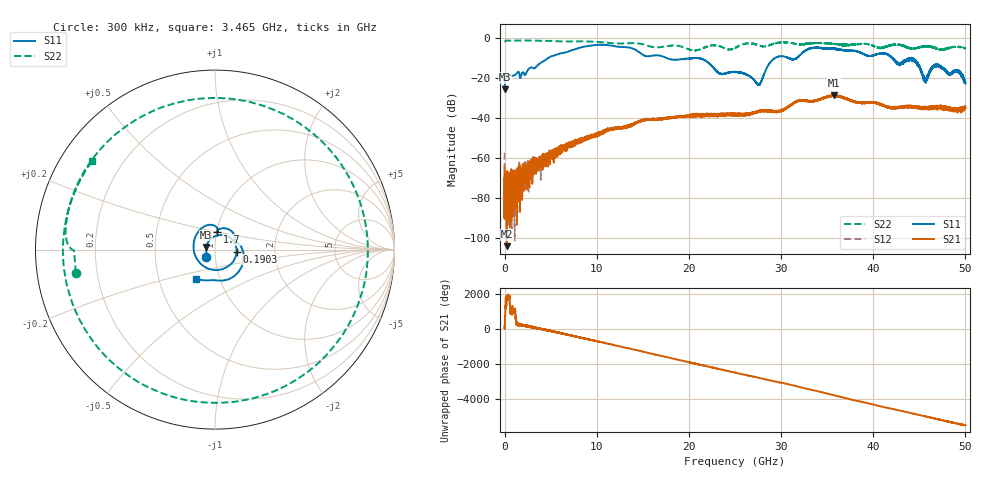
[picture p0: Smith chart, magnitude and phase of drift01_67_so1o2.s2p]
!Created with skrf (http://scikit-rf.org).
# Hz S RI R 50.0
!freq ReS11 ImS11 ReS21 ImS21 ReS12 ImS12 ReS22 ImS22
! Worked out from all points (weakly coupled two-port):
!   10001 points, 300 kHz to 50 GHz, reference 50 ohm
!   highest |S21| = -28.74 dB at 35.71 GHz (marker M1); lowest = -104.0 dB at 235.3 MHz (marker M2)
!   lowest |S11| = -25.8 dB at 5.3 MHz (marker M3), VSWR 1.11, Z = 45.3 + j1.4 ohm
!   |S11| at or under -10 dB: start of sweep to 4.767 GHz; 17.51 GHz to 29.38 GHz (11.87 GHz wide, 50.6 % of centre); 42.05 GHz to end of sweep (the widest 3 of 7)
!   |S22| runs from -6.4 to -1.4 dB; largest |S21 - S12| = 0.0036
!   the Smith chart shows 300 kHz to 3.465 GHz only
!   S11 on the Smith chart (normalised r, x): 300 kHz: 0.91, -0.07; 190.3 MHz: 1.27, -0.03; 1.7 GHz: 1.00, +0.20; 3.465 GHz: 0.77, -0.26
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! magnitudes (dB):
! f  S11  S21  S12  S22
! 300 kHz  -24.2  -64.2  -57.4  -2.1
! 5.3 MHz  -25.8  -90.3  -72.6  -2.1
! 190.3 MHz  -18.4  -86.9  -71.8  -1.4
! 235.3 MHz  -18.3  -104.0  -84.9  -1.4
! 1.7 GHz  -20.1  -66.7  -66.7  -1.4
! 3.465 GHz  -14.3  -65.1  -64.5  -1.5
! 8.335 GHz  -4.8  -51.5  -50.7  -1.8
! 16.67 GHz  -8.7  -40.5  -40.7  -4.8
! 21.21 GHz  -10.3  -39.2  -38.6  -5.8
! 23.39 GHz  -18.0  -38.0  -38.6  -4.3
! 25 GHz  -17.0  -38.1  -38.2  -5.1
! 27.59 GHz  -23.4  -36.6  -36.9  -3.8
! 29.28 GHz  -10.3  -36.9  -36.9  -2.9
! 31.47 GHz  -10.7  -32.4  -32.4  -2.9
! 33.34 GHz  -5.1  -31.6  -31.6  -2.7
! 35.71 GHz  -5.4  -28.7  -28.8  -3.1
! 41.67 GHz  -8.7  -34.4  -34.7  -4.1
! 42.79 GHz  -13.0  -34.7  -34.9  -3.6
! 44.4 GHz  -11.2  -34.5  -34.6  -5.4
! 45.63 GHz  -21.1  -34.8  -35.3  -4.2
! 46.95 GHz  -13.4  -35.1  -34.5  -5.5
! 50 GHz  -22.3  -35.0  -34.7  -5.3
